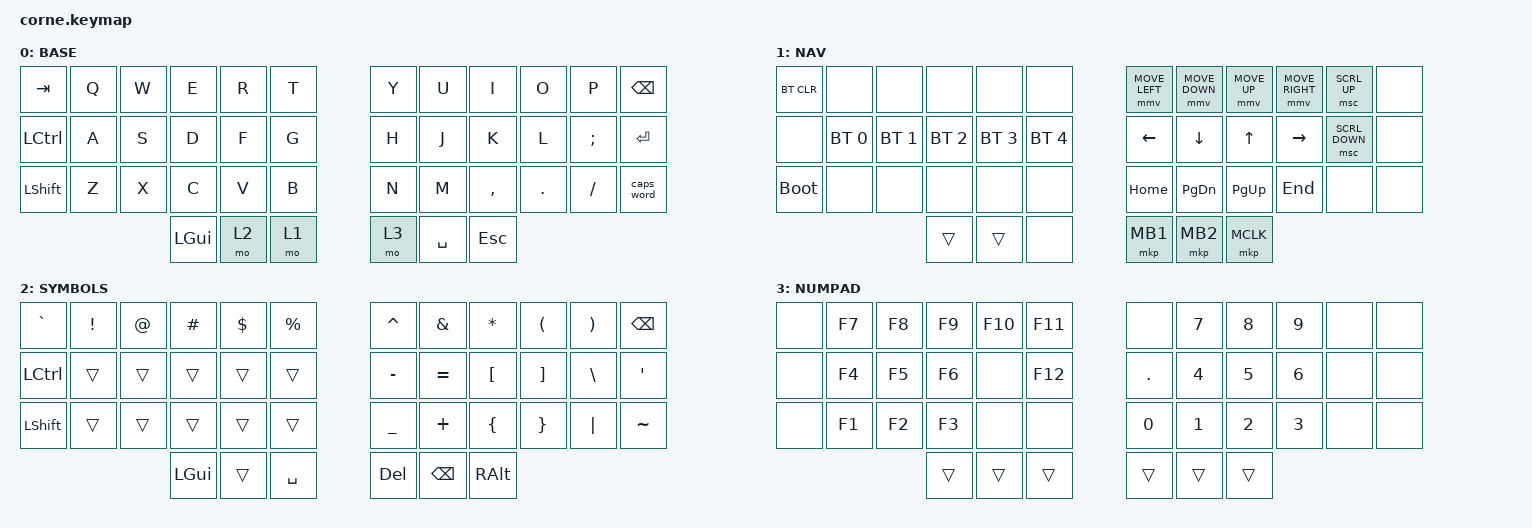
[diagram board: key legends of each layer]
/*
 * Copyright (c) 2020 The ZMK Contributors
 *
 * SPDX-License-Identifier: MIT
 */

#include <behaviors.dtsi>
#include <dt-bindings/zmk/bt.h>
#include <dt-bindings/zmk/keys.h>
#include <dt-bindings/zmk/pointing.h>

/ {
    keymap {
        compatible = "zmk,keymap";

        BASE {
            display-name = "BASE";

            // -----------------------------------------------------------------------------------------
            // |  TAB |  Q  |  W  |  E  |  R  |  T  |   |  Y  |  U   |  I  |  O  |  P  | BSPC |
            // | CTRL |  A  |  S  |  D  |  F  |  G  |   |  H  |  J   |  K  |  L  |  ;  |  '   |
            // | SHFT |  Z  |  X  |  C  |  V  |  B  |   |  N  |  M   |  ,  |  .  |  /  | ESC  |
            //                    | GUI | LWR | SPC |   | ENT | RSE  | ALT |

            bindings = <
&kp TAB    &kp Q  &kp W  &kp E     &kp R  &kp T    &kp Y  &kp U      &kp I       &kp O    &kp P     &kp BSPC
&kp LCTRL  &kp A  &kp S  &kp D     &kp F  &kp G    &kp H  &kp J      &kp K       &kp L    &kp SEMI  &kp ENTER
&kp LSHFT  &kp Z  &kp X  &kp C     &kp V  &kp B    &kp N  &kp M      &kp COMMA   &kp DOT  &kp FSLH  &caps_word
                         &kp LGUI  &mo 2  &mo 1    &mo 3  &kp SPACE  &kp ESCAPE
            >;
        };

        NAV {
            display-name = "NAV";

            // -----------------------------------------------------------------------------------------
            // |  TAB |  1  |  2  |  3  |  4  |  5  |   |  6  |  7  |  8  |  9  |  0  | BSPC |
            // | BTCLR| BT1 | BT2 | BT3 | BT4 | BT5 |   | LFT | DWN |  UP | RGT |     |      |
            // | SHFT |     |     |     |     |     |   |     |     |     |     |     |      |
            //                    | GUI |     | SPC |   | ENT |     | ALT |

            bindings = <
&bt BT_CLR   &none         &none         &none         &none         &none           &mmv MOVE_LEFT  &mmv MOVE_DOWN  &mmv MOVE_UP  &mmv MOVE_RIGHT  &msc SCRL_UP    &none
&none        &bt BT_SEL 0  &bt BT_SEL 1  &bt BT_SEL 2  &bt BT_SEL 3  &bt BT_SEL 4    &kp LEFT        &kp DOWN        &kp UP        &kp RIGHT        &msc SCRL_DOWN  &none
&bootloader  &none         &none         &none         &none         &none           &kp HOME        &kp PAGE_DOWN   &kp PAGE_UP   &kp END          &none           &none
                                         &trans        &trans        &none           &mkp MB1        &mkp MB2        &mkp MCLK
            >;
        };

        SYMBOLS {
            display-name = "SYMBOLS";

            // -----------------------------------------------------------------------------------------
            // |  TAB |  !  |  @  |  #  |  $  |  %  |   |  ^  |  &  |  *  |  (  |  )  | BSPC |
            // | CTRL |     |     |     |     |     |   |  -  |  =  |  [  |  ]  |  \  |  `   |
            // | SHFT |     |     |     |     |     |   |  _  |  +  |  {  |  }  | "|" |  ~   |
            //                    | GUI |     | SPC |   | ENT |     | ALT |

            bindings = <
&kp GRAVE  &kp EXCL  &kp AT  &kp HASH  &kp DLLR  &kp PRCNT    &kp CARET   &kp AMPS       &kp ASTRK  &kp LPAR  &kp RPAR  &kp BSPC
&kp LCTRL  &trans    &trans  &trans    &trans    &trans       &kp MINUS   &kp EQUAL      &kp LBKT   &kp RBKT  &kp BSLH  &kp SINGLE_QUOTE
&kp LSHFT  &trans    &trans  &trans    &trans    &trans       &kp UNDER   &kp PLUS       &kp LBRC   &kp RBRC  &kp PIPE  &kp TILDE
                             &kp LGUI  &trans    &kp SPACE    &kp DELETE  &kp BACKSPACE  &kp RALT
            >;
        };

        NUMPAD {
            bindings = <
&none  &kp F7  &kp F8  &kp F9  &kp F10  &kp F11    &none    &kp N7  &kp N8  &kp N9  &none  &none
&none  &kp F4  &kp F5  &kp F6  &none    &kp F12    &kp DOT  &kp N4  &kp N5  &kp N6  &none  &none
&none  &kp F1  &kp F2  &kp F3  &none    &none      &kp N0   &kp N1  &kp N2  &kp N3  &none  &none
                       &trans  &trans   &trans     &trans   &trans  &trans
            >;

            label = "NUMPAD";
        };
    };
};
